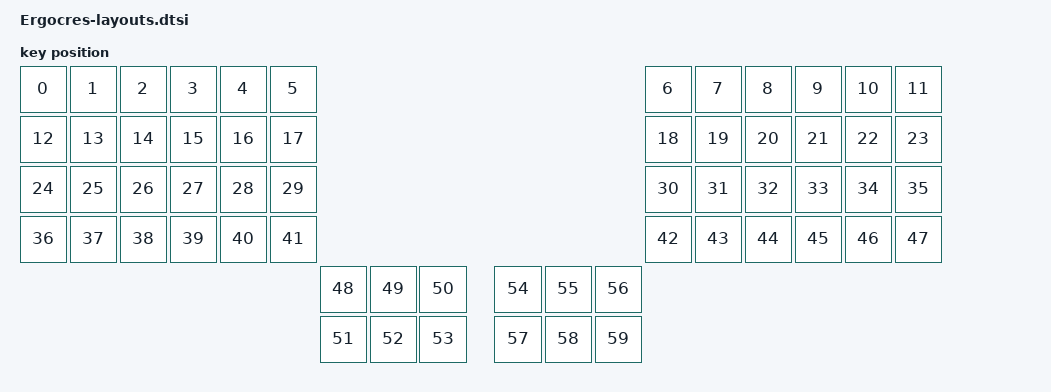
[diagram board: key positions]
#include <physical_layouts.dtsi>

/{
    Ergocres_physical_layout: Ergocres_physical_layout {
        compatible = "zmk,physical-layout";
        display-name = "Default";

        kscan = <&kscan0>;
        transform = <&default_transform>;

         keys  //                     w   h    x    y     rot    rx    ry
            = <&key_physical_attrs 100 100    0    0       0     0     0>
            , <&key_physical_attrs 100 100  100    0       0     0     0>
            , <&key_physical_attrs 100 100  200    0       0     0     0>
            , <&key_physical_attrs 100 100  300    0       0     0     0>
            , <&key_physical_attrs 100 100  400    0       0     0     0>
            , <&key_physical_attrs 100 100  500    0       0     0     0>
            , <&key_physical_attrs 100 100 1250    0       0     0     0>
            , <&key_physical_attrs 100 100 1350    0       0     0     0>
            , <&key_physical_attrs 100 100 1450    0       0     0     0>
            , <&key_physical_attrs 100 100 1550    0       0     0     0>
            , <&key_physical_attrs 100 100 1650    0       0     0     0>
            , <&key_physical_attrs 100 100 1750    0       0     0     0>
            , <&key_physical_attrs 100 100    0  100       0     0     0>
            , <&key_physical_attrs 100 100  100  100       0     0     0>
            , <&key_physical_attrs 100 100  200  100       0     0     0>
            , <&key_physical_attrs 100 100  300  100       0     0     0>
            , <&key_physical_attrs 100 100  400  100       0     0     0>
            , <&key_physical_attrs 100 100  500  100       0     0     0>
            , <&key_physical_attrs 100 100 1250  100       0     0     0>
            , <&key_physical_attrs 100 100 1350  100       0     0     0>
            , <&key_physical_attrs 100 100 1450  100       0     0     0>
            , <&key_physical_attrs 100 100 1550  100       0     0     0>
            , <&key_physical_attrs 100 100 1650  100       0     0     0>
            , <&key_physical_attrs 100 100 1750  100       0     0     0>
            , <&key_physical_attrs 100 100    0  200       0     0     0>
            , <&key_physical_attrs 100 100  100  200       0     0     0>
            , <&key_physical_attrs 100 100  200  200       0     0     0>
            , <&key_physical_attrs 100 100  300  200       0     0     0>
            , <&key_physical_attrs 100 100  400  200       0     0     0>
            , <&key_physical_attrs 100 100  500  200       0     0     0>
            , <&key_physical_attrs 100 100 1250  200       0     0     0>
            , <&key_physical_attrs 100 100 1350  200       0     0     0>
            , <&key_physical_attrs 100 100 1450  200       0     0     0>
            , <&key_physical_attrs 100 100 1550  200       0     0     0>
            , <&key_physical_attrs 100 100 1650  200       0     0     0>
            , <&key_physical_attrs 100 100 1750  200       0     0     0>
            , <&key_physical_attrs 100 100    0  300       0     0     0>
            , <&key_physical_attrs 100 100  100  300       0     0     0>
            , <&key_physical_attrs 100 100  200  300       0     0     0>
            , <&key_physical_attrs 100 100  300  300       0     0     0>
            , <&key_physical_attrs 100 100  400  300       0     0     0>
            , <&key_physical_attrs 100 100  500  300       0     0     0>
            , <&key_physical_attrs 100 100 1250  300       0     0     0>
            , <&key_physical_attrs 100 100 1350  300       0     0     0>
            , <&key_physical_attrs 100 100 1450  300       0     0     0>
            , <&key_physical_attrs 100 100 1550  300       0     0     0>
            , <&key_physical_attrs 100 100 1650  300       0     0     0>
            , <&key_physical_attrs 100 100 1750  300       0     0     0>
            , <&key_physical_attrs 100 100  600  400       0     0     0>
            , <&key_physical_attrs 100 100  700  400       0     0     0>
            , <&key_physical_attrs 100 100  800  400       0     0     0>
            , <&key_physical_attrs 100 100  600  500       0     0     0>
            , <&key_physical_attrs 100 100  700  500       0     0     0>
            , <&key_physical_attrs 100 100  800  500       0     0     0>
            , <&key_physical_attrs 100 100  950  400       0     0     0>
            , <&key_physical_attrs 100 100 1050  400       0     0     0>
            , <&key_physical_attrs 100 100 1150  400       0     0     0>
            , <&key_physical_attrs 100 100  950  500       0     0     0>
            , <&key_physical_attrs 100 100 1050  500       0     0     0>
            , <&key_physical_attrs 100 100 1150  500       0     0     0>
            ;
    };
};
